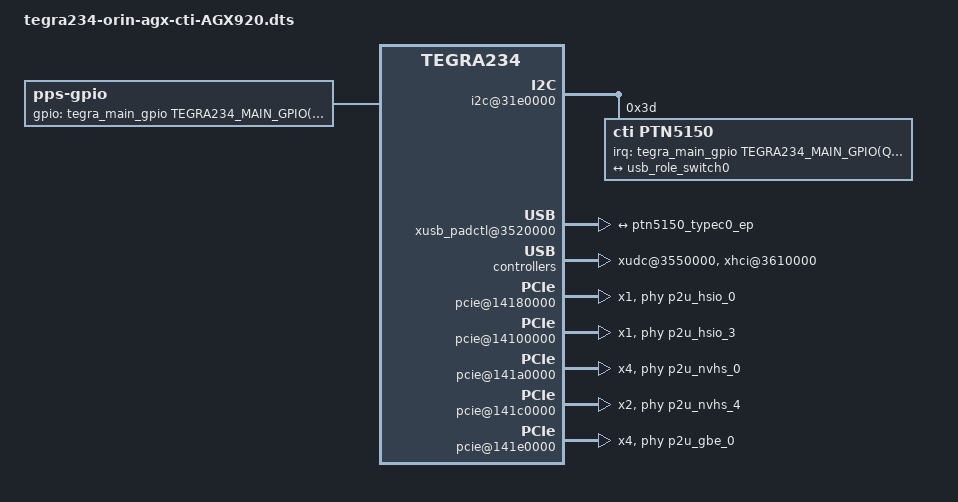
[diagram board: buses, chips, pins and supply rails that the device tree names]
/*
 * Copyright (c) 2022, Connect Tech Inc.  All rights reserved.
 *
 * This program is free software; you can redistribute it and/or modify it
 * under the terms and conditions of the GNU General Public License,
 * version 2, as published by the Free Software Foundation.
 *
 * This program is distributed in the hope it will be useful, but WITHOUT
 * ANY WARRANTY; without even the implied warranty of MERCHANTABILITY or
 * FITNESS FOR A PARTICULAR PURPOSE.  See the GNU General Public License for
 * more details.
 *
 * You should have received a copy of the GNU General Public License
 * along with this program.  If not, see <http://www.gnu.org/licenses/>.
 */

#include "tegra234-orin-agx-cti-base.dtsi"

/{
    nvidia,dtsfilename = "tegra234-orin-agx-cti-AGX920.dts";

    //I2C5
    i2c@31e0000{
        status = "okay";
        ptn5150@3d{
            reg = <0x3d>;
            compatible = "cti,ptn5150";
            status = "okay";
            interrupt-parent = <&tegra_main_gpio>;
            interrupts = <TEGRA234_MAIN_GPIO(Q, 4) IRQ_TYPE_LEVEL_LOW>;

            connector@0 {
                compatible = "usb-c-connector";
                label = "USB-C";
                data-role = "dual";
                //Supported opmodes: "default" (900mA), "1.5A", "3.0A"
                power-opmode = "1.5A";
                port {
                    ptn5150_typec0_ep: endpoint {
                        remote-endpoint = <&usb_role_switch0>;
                    };
                };
            };
        };
    };

    pps {
	    compatible = "pps-gpio";
		status = "okay";
        gpios = <&tegra_main_gpio TEGRA234_MAIN_GPIO(N, 1) 0>;
	};

    display@13800000 {
        status = "okay";
    };

    //1G
    ethernet@2310000 {
        status = "disabled";
    };

    xusb_padctl@3520000 {
        status = "okay";
        pads {
            usb2 {
                lanes {
                    usb2-0 {
                        status = "okay";
                    };
                    usb2-1 {
                        status = "okay";
                    };
                    usb2-2 {
                        status = "okay";
                    };
                    usb2-3 {
                        status = "okay";
                    };
                };
            };
            usb3 {
                lanes {
                    usb3-0 {
                        status = "disabled";
                    };
                    usb3-1 {
                        status = "okay";
                    };
                    usb3-2 {
                        status = "disabled";
                    };
                    usb3-3 {
                        status = "disabled";
                    };
                };
            };
        };
        ports {
            usb2-0 {
                mode = "otg";
                usb-role-switch;
                status = "okay";
                port {
                    usb_role_switch0: endpoint {
                        remote-endpoint = <&ptn5150_typec0_ep>;
                    };
                };
            };
            usb2-1 {
                mode = "host";
                status = "okay";
            };
            usb2-2 {
                mode = "host";
                status = "okay";
            };
            usb2-3 {
                mode = "host";
                status = "okay";
            };

            usb3-0 {
                status = "disabled";
            };
            usb3-1 {
                nvidia,usb2-companion = <0>;
                status = "okay";
            };
            usb3-2 {
                status = "disabled";
            };
            usb3-3 {
                status = "disabled";
            };
        };
    };

    xudc@3550000 {
        status = "okay";
        phys =  <&{/xusb_padctl@3520000/pads/usb2/lanes/usb2-0}>,
                <&{/xusb_padctl@3520000/pads/usb3/lanes/usb3-1}>;
        phy-names = "usb2-0", "usb3-1";
    };

    xhci@3610000 {
        status = "okay";
        phys =  <&{/xusb_padctl@3520000/pads/usb2/lanes/usb2-0}>,
                <&{/xusb_padctl@3520000/pads/usb2/lanes/usb2-1}>,
                <&{/xusb_padctl@3520000/pads/usb2/lanes/usb2-2}>,
                <&{/xusb_padctl@3520000/pads/usb2/lanes/usb2-3}>,
                <&{/xusb_padctl@3520000/pads/usb3/lanes/usb3-1}>;
        phy-names = "usb2-0", "usb2-1", "usb2-2", "usb2-3",
                    "usb3-1";
    };


    //PCIe C0
    pcie@14180000 {
        status = "okay";
        num-lanes = <1>;
        phys = <&p2u_hsio_0>;
        phy-names = "p2u-0";
    };

    //PCIe C1
    pcie@14100000 {
        status = "okay";
        num-lanes = <1>;
        phys = <&p2u_hsio_3>;
        phy-names = "p2u-0";
    };

    //PCIe C4
    pcie@14160000 {
        status = "disabled";
        num-lanes = <4>;
        phys = <&p2u_hsio_4>, <&p2u_hsio_5>, <&p2u_hsio_6>, <&p2u_hsio_7>;
        phy-names = "p2u-0", "p2u-1", "p2u-2", "p2u-3";
    };

    //PCIe C5
    pcie@141a0000 {
        status = "okay";
        num-lanes = <4>;
        phys = <&p2u_nvhs_0>, <&p2u_nvhs_1>, <&p2u_nvhs_2>, <&p2u_nvhs_3>;
        phy-names = "p2u-0", "p2u-1", "p2u-2", "p2u-3";
    };

    pcie_ep@141a0000 {
        status = "disabled";
        num-lanes = <4>;
        phys = <&p2u_nvhs_0>, <&p2u_nvhs_1>, <&p2u_nvhs_2>, <&p2u_nvhs_3>;
        phy-names = "p2u-0", "p2u-1", "p2u-2", "p2u-3";
    };

    //PCIe C6
    pcie@141c0000{
        status = "okay";
        num-lanes = <2>;
        phys = <&p2u_nvhs_4>, <&p2u_nvhs_5>;
        phy-names = "p2u-0", "p2u-1";
    };

    //PCIe C7
    pcie@141e0000 {
        status = "okay";
        num-lanes = <4>;
        phys = <&p2u_gbe_0>, <&p2u_gbe_1>, <&p2u_gbe_2>, <&p2u_gbe_3>;
        phy-names = "p2u-0", "p2u-1", "p2u-2", "p2u-3";
    };

};

